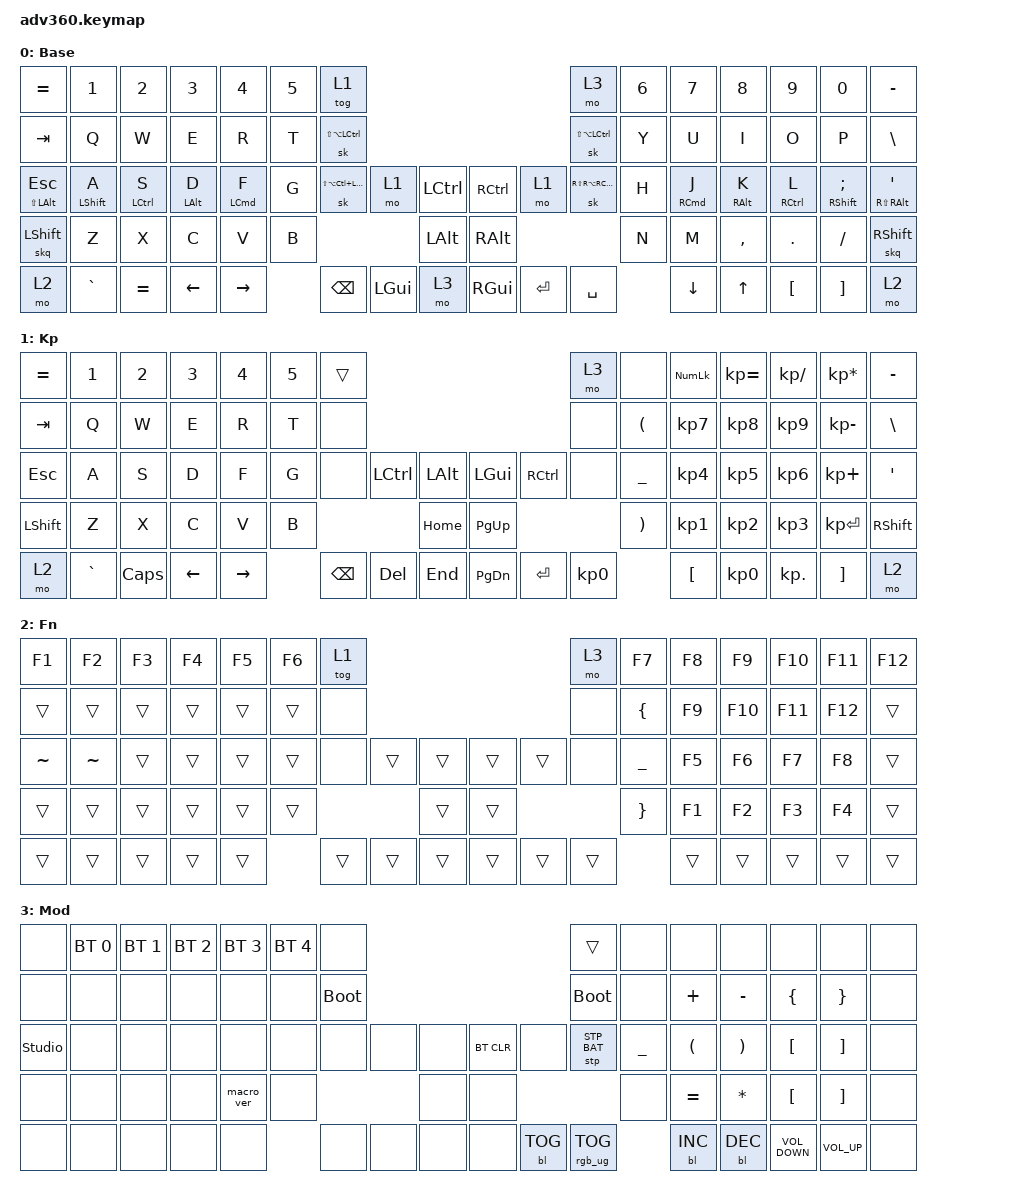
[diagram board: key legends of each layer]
#include <dt-bindings/zmk/stp.h>
#include <behaviors.dtsi>
#include <dt-bindings/zmk/backlight.h>
#include <dt-bindings/zmk/bt.h>
#include <dt-bindings/zmk/keys.h>
#include <dt-bindings/zmk/rgb.h>

/ {
    behaviors {
        #include "macros.dtsi"
      #include "version.dtsi"

        hml: homerow_mods_lt {
            compatible = "zmk,behavior-hold-tap";
            label = "HOMEROW_MODS_LT";
            #binding-cells = <2>;
            tapping-term-ms = <200>;
            flavor = "balanced";
            bindings = <&kp>, <&kp>;

            hold-trigger-key-positions = <29 30 31 32>;
            require-prior-idle-ms = <150>;
            quick-tap-ms = <175>;
            hold-trigger-on-release;
        };

        hmr: homerow_mods_rt {
            compatible = "zmk,behavior-hold-tap";
            label = "HOMEROW_MODS_RT";
            #binding-cells = <2>;
            tapping-term-ms = <200>;
            flavor = "balanced";
            bindings = <&kp>, <&kp>;

            hold-trigger-key-positions = <41 42 43 44>;
            require-prior-idle-ms = <150>;
            quick-tap-ms = <175>;
            hold-trigger-on-release;
        };

        skq: sticky_key_quick_release {
            compatible = "zmk,behavior-sticky-key";
            label = "sticky_key_quick_release";
            bindings = <&kp>;
            #binding-cells = <1>;
            quick-release;
            release-after-ms = <1000>;
        };
    };

    keymap {
        compatible = "zmk,keymap";

        default_layer {
            display-name = "Base";
            bindings = <
&kp EQUAL                 &kp N1             &kp N2               &kp N3           &kp N4               &kp N5  &tog 1                                                                                  &mo 3                      &kp N6  &kp N7                &kp N8            &kp N9                &kp N0                      &kp MINUS
&kp TAB                   &kp Q              &kp W                &kp E            &kp R                &kp T   &sk LS(LA(LEFT_CONTROL))                                                                &sk LS(LA(LEFT_CONTROL))   &kp Y   &kp U                 &kp I             &kp O                 &kp P                       &kp BSLH
&hml LS(LEFT_ALT) ESCAPE  &hml LEFT_SHIFT A  &hml LEFT_CONTROL S  &hml LEFT_ALT D  &hml LEFT_COMMAND F  &kp G   &sk LS(LA(LC(LEFT_GUI)))  &mo 1         &kp LEFT_CONTROL      &kp RCTRL      &mo 1      &sk RS(RA(RC(RIGHT_GUI)))  &kp H   &hmr RIGHT_COMMAND J  &hmr RIGHT_ALT K  &hmr RIGHT_CONTROL L  &hmr RIGHT_SHIFT SEMICOLON  &hmr RS(RIGHT_ALT) APOS
&skq LSHFT                &kp Z              &kp X                &kp C            &kp V                &kp B                                           &kp LEFT_ALT          &kp RIGHT_ALT                                        &kp N   &kp M                 &kp COMMA         &kp DOT               &kp FSLH                    &skq RSHFT
&mo 2                     &kp GRAVE          &kp EQUAL            &kp LEFT         &kp RIGHT                    &kp BSPC                  &kp LEFT_GUI  &mo 3                 &kp RIGHT_GUI  &kp ENTER  &kp SPACE                          &kp DOWN_ARROW        &kp UP_ARROW      &kp LBKT              &kp RBKT                    &mo 2
            >;
        };

        keypad {
            display-name = "Kp";
            bindings = <
&kp EQUAL  &kp N1     &kp N2    &kp N3    &kp N4     &kp N5  &trans                                                   &mo 3      &none                  &kp KP_NUM        &kp KP_EQUAL  &kp KP_DIVIDE  &kp KP_MULTIPLY  &kp MINUS
&kp TAB    &kp Q      &kp W     &kp E     &kp R      &kp T   &none                                                    &none      &kp LEFT_PARENTHESIS   &kp KP_N7         &kp KP_N8     &kp KP_N9      &kp KP_MINUS     &kp BSLH
&kp ESC    &kp A      &kp S     &kp D     &kp F      &kp G   &none     &kp LCTRL  &kp LALT      &kp LGUI   &kp RCTRL  &none      &kp UNDER              &kp KP_N4         &kp KP_N5     &kp KP_N6      &kp KP_PLUS      &kp SQT
&kp LSHFT  &kp Z      &kp X     &kp C     &kp V      &kp B                        &kp HOME      &kp PG_UP                        &kp RIGHT_PARENTHESIS  &kp KP_N1         &kp KP_N2     &kp KP_N3      &kp KP_ENTER     &kp RSHFT
&mo 2      &kp GRAVE  &kp CAPS  &kp LEFT  &kp RIGHT          &kp BSPC  &kp DEL    &kp END       &kp PG_DN  &kp ENTER  &kp KP_N0                         &kp LEFT_BRACKET  &kp KP_N0     &kp KP_DOT     &kp RBKT         &mo 2
            >;
        };

        fn {
            display-name = "Fn";
            bindings = <
&kp F1     &kp F2     &kp F3  &kp F4  &kp F5  &kp F6  &tog 1                                      &mo 3   &kp F7           &kp F8  &kp F9   &kp F10  &kp F11  &kp F12
&trans     &trans     &trans  &trans  &trans  &trans  &none                                       &none   &kp LEFT_BRACE   &kp F9  &kp F10  &kp F11  &kp F12  &trans
&kp TILDE  &kp TILDE  &trans  &trans  &trans  &trans  &none   &trans  &trans      &trans  &trans  &none   &kp UNDER        &kp F5  &kp F6   &kp F7   &kp F8   &trans
&trans     &trans     &trans  &trans  &trans  &trans                  &trans      &trans                  &kp RIGHT_BRACE  &kp F1  &kp F2   &kp F3   &kp F4   &trans
&trans     &trans     &trans  &trans  &trans          &trans  &trans  &trans      &trans  &trans  &trans                   &trans  &trans   &trans   &trans   &trans
            >;
        };

        mod {
            display-name = "Mod";
            bindings = <
&none           &bt BT_SEL 0  &bt BT_SEL 1  &bt BT_SEL 2  &bt BT_SEL 3  &bt BT_SEL 4  &none                                                  &trans           &none           &none                 &none                  &none              &none              &none
&none           &none         &none         &none         &none         &none         &bootloader                                            &bootloader      &none           &kp PLUS              &kp MINUS              &kp LEFT_BRACE     &kp RIGHT_BRACE    &none
&studio_unlock  &none         &none         &none         &none         &none         &none        &none  &none      &bt BT_CLR  &none       &stp STP_BAT     &kp UNDERSCORE  &kp LEFT_PARENTHESIS  &kp RIGHT_PARENTHESIS  &kp LEFT_BRACKET   &kp RIGHT_BRACKET  &none
&none           &none         &none         &none         &macro_ver    &none                             &none      &none                                    &none           &kp EQUAL             &kp ASTERISK           &kp LEFT_BRACKET   &kp RIGHT_BRACKET  &none
&none           &none         &none         &none         &none                       &none        &none  &none      &none       &bl BL_TOG  &rgb_ug RGB_TOG                  &bl BL_INC            &bl BL_DEC             &kp C_VOLUME_DOWN  &kp C_VOLUME_UP    &none
            >;
        };

        extra1 {
            display-name = "Red";
            status = "reserved";
        };

        extra2 {
            display-name = "Purple";
            status = "reserved";
        };

        extra3 {
            display-name = "Cyan";
            status = "reserved";
        };

        extra4 {
            display-name = "Yellow";
            status = "reserved";
        };
    };
};
